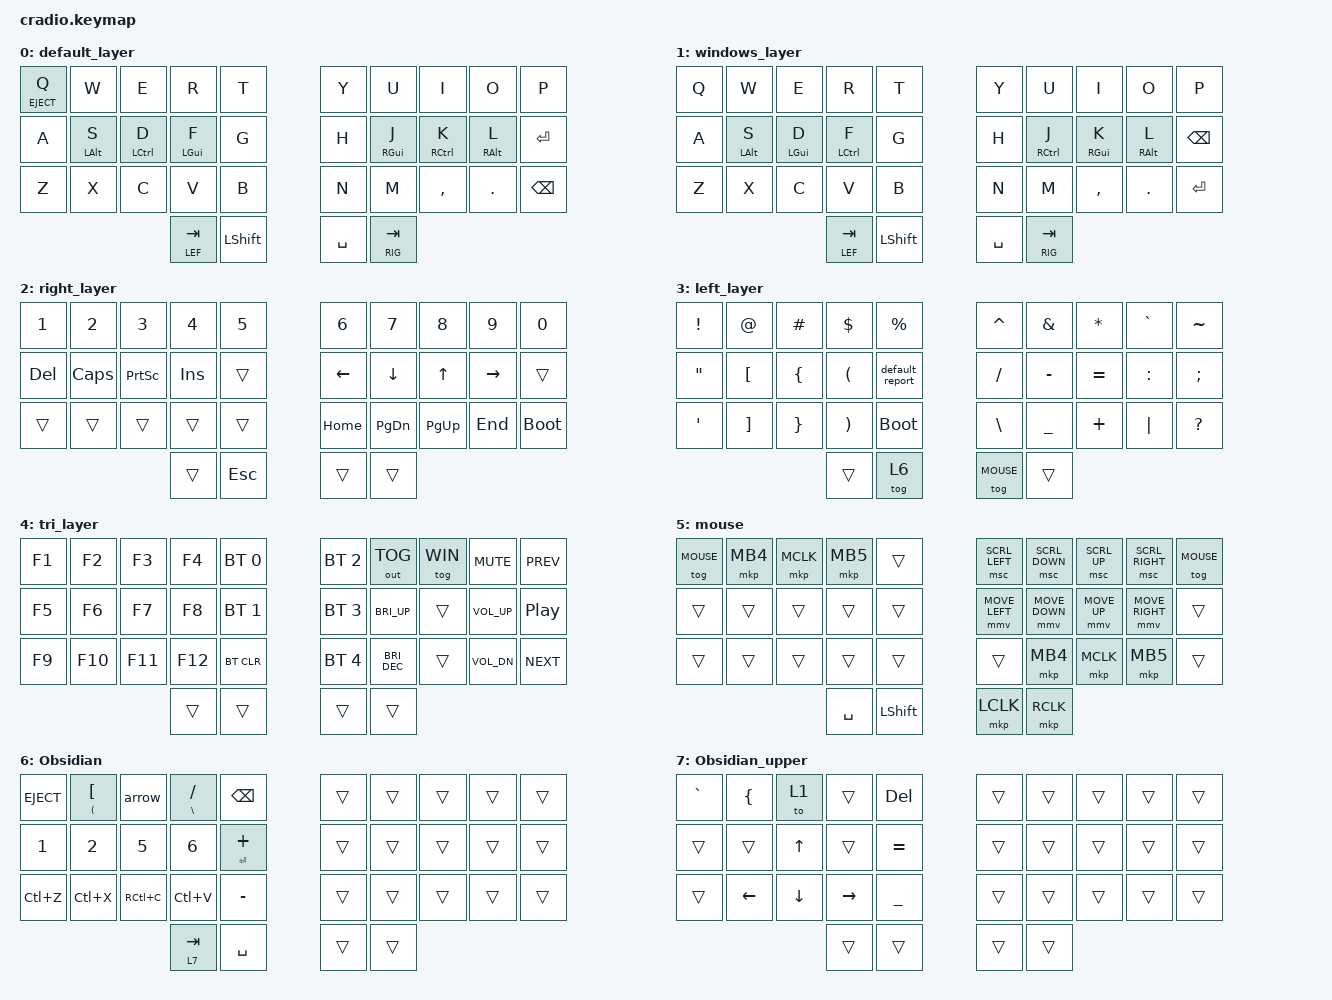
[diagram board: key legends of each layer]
// Copyright (c) 2022 The ZMK Contributors
// SPDX-License-Identifier: MIT

#define ZMK_MOUSE_DEFAULT_MOVE_VAL 2500  // 600
#define ZMK_MOUSE_DEFAULT_SCRL_VAL 20    // 10

#include <behaviors.dtsi>
#include <dt-bindings/zmk/bt.h>
#include <dt-bindings/zmk/keys.h>
#include <dt-bindings/zmk/mouse.h>
#include <dt-bindings/zmk/outputs.h>

#define MAC 0
#define WIN 1
#define RIG 2
#define LEF 3
#define TRI 4
#define MOUSE 5
#define U_MS_U &mmv MOVE_UP
#define U_MS_D &mmv MOVE_DOWN
#define U_MS_L &mmv MOVE_LEFT
#define U_MS_R &mmv MOVE_RIGHT
#define U_WH_U &msc SCRL_UP
#define U_WH_D &msc SCRL_DOWN
#define U_WH_L &msc SCRL_LEFT
#define U_WH_R &msc SCRL_RIGHT

/ {
    chosen { zmk,charmap = &charmap_us; };

    behaviors {
        ht: hold_tap {
            label = "hold_tap";
            compatible = "zmk,behavior-hold-tap";
            #binding-cells = <2>;
            flavor = "tap-preferred";
            tapping-term-ms = <220>;
            quick-tap-ms = <150>;
            global-quick-tap;
            bindings = <&kp>, <&kp>;
        };

        mmv {
            acceleration-exponent = <1>;      // 1
            time-to-max-speed-ms = <300>;    // 40
            delay-ms = <0>;                   // 0
        };

        msc {
            acceleration-exponent = <0>;      // 0
            time-to-max-speed-ms = <40>;      // 500
            delay-ms = <0>;                   // 10
        };
    };

    conditional_layers {
        compatible = "zmk,conditional-layers";

        tri_layer {
            if-layers = <RIG LEF>;
            then-layer = <TRI>;
        };
    };

    combos {
        compatible = "zmk,combos";

        HoldToggle {
            bindings = <&tog 1>;
            key-positions = <31 0>;
            timeout-ms = <0>;
            layers = <6 7 1>;
        };
    };

    macros {
        arrow: arrow {
            compatible = "zmk,behavior-macro";
            #binding-cells = <0>;
            bindings = <&kp MINUS &kp GT>;
            label = "ARROW";
        };
    };

    keymap {
        compatible = "zmk,keymap";

        default_layer {
            bindings = <
&ht C_EJECT Q  &kp W       &kp E        &kp R        &kp T         &kp Y      &kp U        &kp I        &kp O       &kp P
&kp A          &ht LALT S  &ht LCTRL D  &ht LGUI F   &kp G         &kp H      &ht RGUI J   &ht RCTRL K  &ht RALT L  &kp ENTER
&kp Z          &kp X       &kp C        &kp V        &kp B         &kp N      &kp M        &kp COMMA    &kp DOT     &kp BACKSPACE
                                        &lt LEF TAB  &kp LSHIFT    &kp SPACE  &lt RIG TAB
            >;
        };

        windows_layer {
            bindings = <
&kp Q  &kp W       &kp E       &kp R        &kp T         &kp Y      &kp U        &kp I       &kp O       &kp P
&kp A  &ht LALT S  &ht LGUI D  &ht LCTRL F  &kp G         &kp H      &ht RCTRL J  &ht RGUI K  &ht RALT L  &kp BSPC
&kp Z  &kp X       &kp C       &kp V        &kp B         &kp N      &kp M        &kp COMMA   &kp DOT     &kp ENTER
                               &lt LEF TAB  &kp LSHIFT    &kp SPACE  &lt RIG TAB
            >;
        };

        right_layer {
            bindings = <
&kp N1   &kp N2    &kp N3     &kp N4   &kp N5     &kp N6    &kp N7     &kp N8     &kp N9     &kp N0
&kp DEL  &kp CAPS  &kp PSCRN  &kp INS  &trans     &kp LEFT  &kp DOWN   &kp UP     &kp RIGHT  &trans
&trans   &trans    &trans     &trans   &trans     &kp HOME  &kp PG_DN  &kp PG_UP  &kp END    &bootloader
                              &trans   &kp ESC    &trans    &trans
            >;
        };

        left_layer {
            bindings = <
&kp EXCL  &kp AT    &kp HASH  &kp DLLR  &kp PRCNT          &kp CARET   &kp AMPS   &kp ASTRK  &kp GRAVE  &kp TILDE
&kp DQT   &kp LBKT  &kp LBRC  &kp LPAR  &default_report    &kp FSLH    &kp MINUS  &kp EQUAL  &kp COLON  &kp SEMI
&kp SQT   &kp RBKT  &kp RBRC  &kp RPAR  &bootloader        &kp BSLH    &kp UNDER  &kp PLUS   &kp PIPE   &kp QMARK
                              &trans    &tog 6             &tog MOUSE  &trans
            >;
        };

        tri_layer {
            bindings = <
&kp F1  &kp F2   &kp F3   &kp F4   &bt BT_SEL 0    &bt BT_SEL 2  &out OUT_TOG   &tog WIN  &kp C_MUTE    &kp C_PREV
&kp F5  &kp F6   &kp F7   &kp F8   &bt BT_SEL 1    &bt BT_SEL 3  &kp C_BRI_UP   &trans    &kp C_VOL_UP  &kp C_PP
&kp F9  &kp F10  &kp F11  &kp F12  &bt BT_CLR      &bt BT_SEL 4  &kp C_BRI_DEC  &trans    &kp C_VOL_DN  &kp C_NEXT
                          &trans   &trans          &trans        &trans
            >;
        };

        mouse {
            bindings = <
&tog MOUSE  &mkp MB4  &mkp MCLK  &mkp MB5   &trans        &msc SCRL_LEFT  &msc SCRL_DOWN  &msc SCRL_UP  &msc SCRL_RIGHT  &tog MOUSE
&trans      &trans    &trans     &trans     &trans        &mmv MOVE_LEFT  &mmv MOVE_DOWN  &mmv MOVE_UP  &mmv MOVE_RIGHT  &trans
&trans      &trans    &trans     &trans     &trans        &trans          &mkp MB4        &mkp MCLK     &mkp MB5         &trans
                                 &kp SPACE  &kp LSHIFT    &mkp LCLK       &mkp RCLK
            >;
        };

        Obsidian {
            bindings = <
&kp C_EJECT   &ht LEFT_PARENTHESIS LEFT_BRACKET  &arrow     &ht BACKSLASH SLASH  &kp BACKSPACE     &trans  &trans  &trans  &trans  &trans
&kp NUMBER_1  &kp NUMBER_2                       &kp N5     &kp NUMBER_6         &ht ENTER PLUS    &trans  &trans  &trans  &trans  &trans
&kp LC(Z)     &kp LC(X)                          &kp RC(C)  &kp LC(V)            &kp MINUS         &trans  &trans  &trans  &trans  &trans
                                                            &lt 7 TAB            &kp SPACE         &trans  &trans
            >;
        };

        Obsidian_upper {
            bindings = <
&kp GRAVE  &kp LEFT_BRACE  &to 1     &trans     &kp DEL           &trans  &trans  &trans  &trans  &trans
&trans     &trans          &kp UP    &trans     &kp EQUAL         &trans  &trans  &trans  &trans  &trans
&trans     &kp LEFT        &kp DOWN  &kp RIGHT  &kp UNDERSCORE    &trans  &trans  &trans  &trans  &trans
                                     &trans     &trans            &trans  &trans
            >;
        };
    };
};
